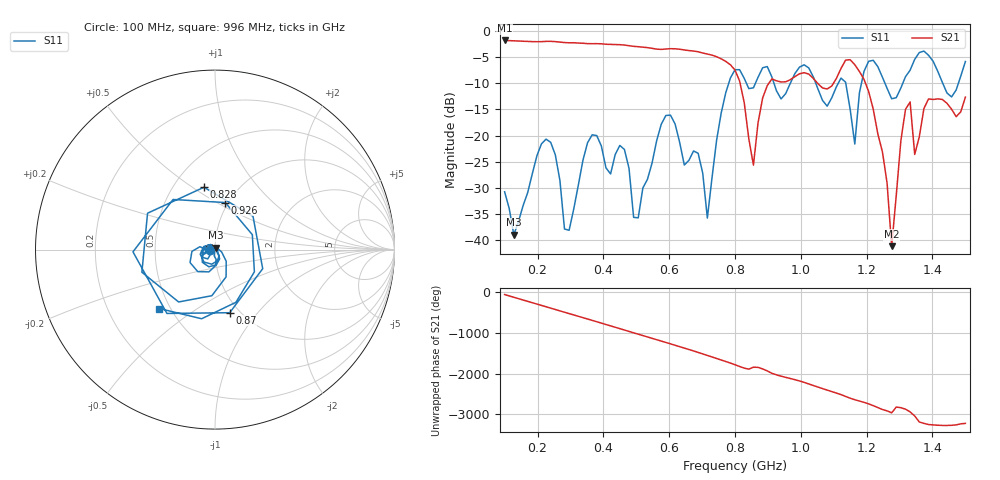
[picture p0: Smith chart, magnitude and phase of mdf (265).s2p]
! NanoVNA-App
! Date: 2025-09-25 15:40:29
! Start: 100MHz Stop: 1,5GHz Points: 101
! S-Parameter data: F S11 S21 S12 S22
# Hz S RI R 50
!  Frequency  S11_Real  S11_Imag  S21_Real  S21_Imag  S12_Real  S12_Imag  S22_Real  S22_Imag
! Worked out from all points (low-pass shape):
!   101 points, 100 MHz to 1.5 GHz, reference 50 ohm
!   highest |S21| = -1.80 dB at 100 MHz (marker M1); lowest = -41.2 dB at 1.276 GHz (marker M2)
!   |S21| within 3 dB of the highest: start of sweep to 739.2 MHz
!   lowest |S11| = -39.0 dB at 128 MHz (marker M3), VSWR 1.02, Z = 50.3 + j1.08 ohm
!   |S11| at or under -10 dB: start of sweep to 780.9 MHz; 918.5 MHz to 968.1 MHz (49.6 MHz wide, 5.26 % of centre); 1.045 GHz to 1.114 GHz (68.25 MHz wide, 6.32 % of centre) (the widest 3 of 7)
!   S12 and S22 are empty: the file has one direction only
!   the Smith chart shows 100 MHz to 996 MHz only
!   S11 on the Smith chart (normalised r, x): 100 MHz: 0.94, -0.01; 828 MHz: 0.70, +0.56; 870 MHz: 0.90, -0.73; 926 MHz: 0.97, +0.55; 996 MHz: 0.44, -0.36
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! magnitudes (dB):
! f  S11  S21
! 100 MHz  -30.8  -1.8
! 128 MHz  -39.0  -1.9
! 212 MHz  -21.6  -2.0
! 282 MHz  -37.9  -2.2
! 338 MHz  -24.7  -2.3
! 464 MHz  -22.7  -2.7
! 506 MHz  -35.7  -3.0
! 576 MHz  -17.8  -3.5
! 716 MHz  -35.8  -4.4
! 800 MHz  -7.4  -7.5
! 828 MHz  -9.1  -13.7
! 856 MHz  -10.9  -25.7
! 870 MHz  -8.8  -17.6
! 926 MHz  -11.4  -9.5
! 996 MHz  -6.9  -8.2
! 1.038 GHz  -8.8  -9.1
! 1.164 GHz  -21.6  -6.4
! 1.192 GHz  -7.7  -9.2
! 1.276 GHz  -13.0  -41.2
! 1.318 GHz  -8.7  -15.0
! 1.346 GHz  -5.4  -23.6
! 1.5 GHz  -5.8  -12.6
